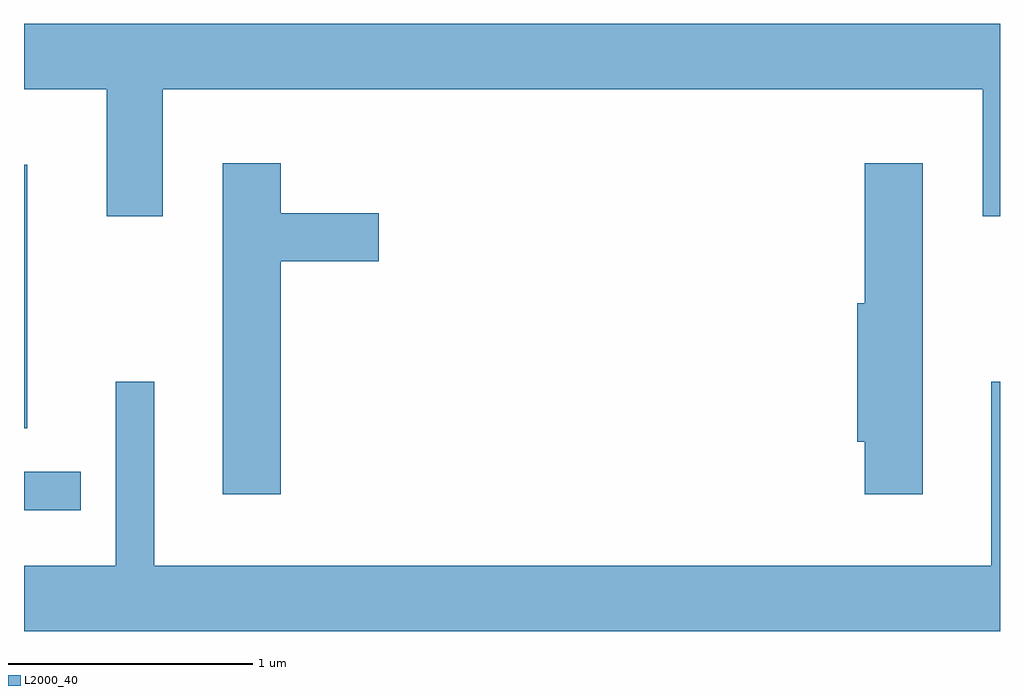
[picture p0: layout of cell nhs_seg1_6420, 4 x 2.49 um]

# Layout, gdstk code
import gdstk
lib = gdstk.Library(unit=1e-6, precision=1e-09)
def R(c, l, rs):  # rectangles x0, y0, x1, y1
    for r in rs: c.add(gdstk.rectangle(r[:2], r[2:], *l))
def P(c, l, *ps):  # polygons
    for p in ps: c.add(gdstk.Polygon(p, *l))
L2000_40 = (2000, 40)

nhs_seg1_6420 = lib.new_cell('nhs_seg1_6420')
R(nhs_seg1_6420, L2000_40, [(377.611,973.331,377.843,973.489), (377.611,973.668,377.624,974.748)])
P(nhs_seg1_6420, L2000_40, [(378.179,975.056),(381.541,975.056),(381.541,974.536),(381.611,974.536),(381.611,975.324),(377.611,975.324),(377.611,975.056),(377.951,975.056),(377.951,974.536),(378.179,974.536)],
  [(378.664,974.351),(379.064,974.351),(379.064,974.549),(378.664,974.549),(378.664,974.754),(378.426,974.754),(378.426,973.396),(378.664,973.396)],
  [(381.294,974.754),(381.056,974.754),(381.056,974.179),(381.026,974.179),(381.026,973.611),(381.056,973.611),(381.056,973.396),(381.294,973.396)],
  [(381.611,973.858),(381.576,973.858),(381.576,973.104),(378.144,973.104),(378.144,973.858),(377.986,973.858),(377.986,973.104),(377.611,973.104),(377.611,972.836),(381.611,972.836)])

lib.write_gds('nhs_seg1_6420.gds')
